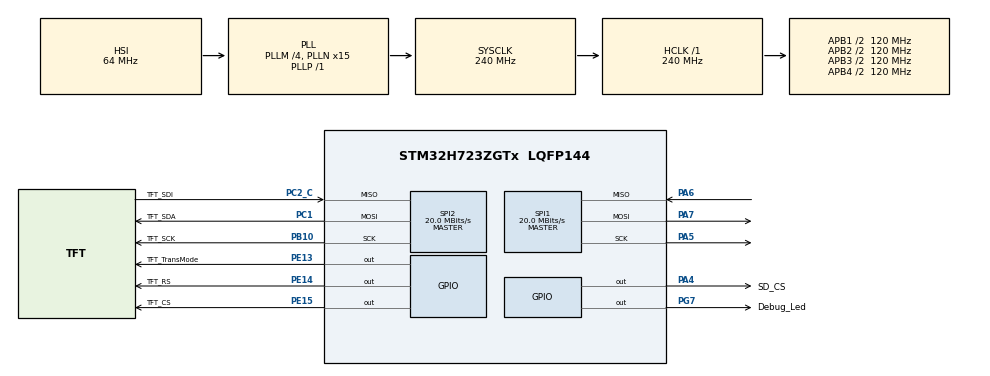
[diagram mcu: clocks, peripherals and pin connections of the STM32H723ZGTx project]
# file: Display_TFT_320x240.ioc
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CORTEX_M7.default_mode_Activation=1
Dma.Request0=SPI1_RX
Dma.Request1=SPI1_TX
Dma.Request2=SPI2_RX
Dma.Request3=SPI2_TX
Dma.SPI1_RX.0.Direction=DMA_PERIPH_TO_MEMORY
Dma.SPI1_RX.0.EventEnable=DISABLE
Dma.SPI1_RX.0.FIFOMode=DMA_FIFOMODE_DISABLE
Dma.SPI1_RX.0.Instance=DMA1_Stream0
Dma.SPI1_RX.0.MemDataAlignment=DMA_MDATAALIGN_BYTE
Dma.SPI1_RX.0.MemInc=DMA_MINC_ENABLE
Dma.SPI1_RX.0.Mode=DMA_NORMAL
Dma.SPI1_RX.0.PeriphDataAlignment=DMA_PDATAALIGN_BYTE
Dma.SPI1_RX.0.PeriphInc=DMA_PINC_DISABLE
Dma.SPI1_RX.0.Polarity=HAL_DMAMUX_REQ_GEN_RISING
Dma.SPI1_RX.0.Priority=DMA_PRIORITY_LOW
Dma.SPI1_RX.0.RequestNumber=1
Dma.SPI1_RX.0.SignalID=NONE
Dma.SPI1_RX.0.SyncEnable=DISABLE
Dma.SPI1_RX.0.SyncPolarity=HAL_DMAMUX_SYNC_NO_EVENT
Dma.SPI1_RX.0.SyncRequestNumber=1
Dma.SPI1_RX.0.SyncSignalID=NONE
Dma.SPI1_TX.1.Direction=DMA_MEMORY_TO_PERIPH
Dma.SPI1_TX.1.EventEnable=DISABLE
Dma.SPI1_TX.1.FIFOMode=DMA_FIFOMODE_DISABLE
Dma.SPI1_TX.1.Instance=DMA1_Stream1
Dma.SPI1_TX.1.MemDataAlignment=DMA_MDATAALIGN_BYTE
Dma.SPI1_TX.1.MemInc=DMA_MINC_ENABLE
Dma.SPI1_TX.1.Mode=DMA_NORMAL
Dma.SPI1_TX.1.PeriphDataAlignment=DMA_PDATAALIGN_BYTE
Dma.SPI1_TX.1.PeriphInc=DMA_PINC_DISABLE
Dma.SPI1_TX.1.Polarity=HAL_DMAMUX_REQ_GEN_RISING
Dma.SPI1_TX.1.Priority=DMA_PRIORITY_LOW
Dma.SPI1_TX.1.RequestNumber=1
Dma.SPI1_TX.1.SignalID=NONE
Dma.SPI1_TX.1.SyncEnable=DISABLE
Dma.SPI1_TX.1.SyncPolarity=HAL_DMAMUX_SYNC_NO_EVENT
Dma.SPI1_TX.1.SyncRequestNumber=1
Dma.SPI1_TX.1.SyncSignalID=NONE
Dma.SPI2_RX.2.Direction=DMA_PERIPH_TO_MEMORY
Dma.SPI2_RX.2.EventEnable=DISABLE
Dma.SPI2_RX.2.FIFOMode=DMA_FIFOMODE_DISABLE
Dma.SPI2_RX.2.Instance=DMA1_Stream2
Dma.SPI2_RX.2.MemDataAlignment=DMA_MDATAALIGN_BYTE
Dma.SPI2_RX.2.MemInc=DMA_MINC_ENABLE
Dma.SPI2_RX.2.Mode=DMA_NORMAL
Dma.SPI2_RX.2.PeriphDataAlignment=DMA_PDATAALIGN_BYTE
Dma.SPI2_RX.2.PeriphInc=DMA_PINC_DISABLE
Dma.SPI2_RX.2.Polarity=HAL_DMAMUX_REQ_GEN_RISING
Dma.SPI2_RX.2.Priority=DMA_PRIORITY_LOW
Dma.SPI2_RX.2.RequestNumber=1
Dma.SPI2_RX.2.SignalID=NONE
Dma.SPI2_RX.2.SyncEnable=DISABLE
Dma.SPI2_RX.2.SyncPolarity=HAL_DMAMUX_SYNC_NO_EVENT
Dma.SPI2_RX.2.SyncRequestNumber=1
Dma.SPI2_RX.2.SyncSignalID=NONE
Dma.SPI2_TX.3.Direction=DMA_MEMORY_TO_PERIPH
Dma.SPI2_TX.3.EventEnable=DISABLE
Dma.SPI2_TX.3.FIFOMode=DMA_FIFOMODE_DISABLE
Dma.SPI2_TX.3.Instance=DMA1_Stream3
Dma.SPI2_TX.3.MemDataAlignment=DMA_MDATAALIGN_BYTE
Dma.SPI2_TX.3.MemInc=DMA_MINC_ENABLE
Dma.SPI2_TX.3.Mode=DMA_NORMAL
Dma.SPI2_TX.3.PeriphDataAlignment=DMA_PDATAALIGN_BYTE
Dma.SPI2_TX.3.PeriphInc=DMA_PINC_DISABLE
Dma.SPI2_TX.3.Polarity=HAL_DMAMUX_REQ_GEN_RISING
Dma.SPI2_TX.3.Priority=DMA_PRIORITY_LOW
Dma.SPI2_TX.3.RequestNumber=1
Dma.SPI2_TX.3.SignalID=NONE
Dma.SPI2_TX.3.SyncEnable=DISABLE
Dma.SPI2_TX.3.SyncPolarity=HAL_DMAMUX_SYNC_NO_EVENT
Dma.SPI2_TX.3.SyncRequestNumber=1
Dma.SPI2_TX.3.SyncSignalID=NONE
FATFS._FS_TIMEOUT=10000
FATFS._MAX_SS=4096
FATFS._MULTI_PARTITION=0
FATFS._USE_CHMOD=0
FATFS._USE_LABEL=1
FATFS._USE_LFN=3
Mcu.Family=STM32H7
Mcu.Name=STM32H723ZGTx
Mcu.Package=LQFP144
NVIC.DMA1_Stream0_IRQn=true\:0\:0\:false\:false\:true\:false\:true\:true
NVIC.DMA1_Stream1_IRQn=true\:0\:0\:false\:false\:true\:false\:true\:true
NVIC.DMA1_Stream2_IRQn=true\:0\:0\:false\:false\:true\:false\:true\:true
NVIC.DMA1_Stream3_IRQn=true\:0\:0\:false\:false\:true\:false\:true\:true
NVIC.PriorityGroup=NVIC_PRIORITYGROUP_4
NVIC.SPI1_IRQn=true\:0\:0\:false\:false\:true\:false\:true\:true
NVIC.SPI2_IRQn=true\:0\:0\:false\:false\:true\:false\:true\:true
PA13(JTMS/SWDIO).Mode=Serial_Wire
PA13(JTMS/SWDIO).Signal=DEBUG_JTMS-SWDIO
PA14(JTCK/SWCLK).Mode=Serial_Wire
PA14(JTCK/SWCLK).Signal=DEBUG_JTCK-SWCLK
PA4.GPIO_Label=SD_CS
PA4.PinState=GPIO_PIN_SET
PA4.Signal=GPIO_Output
PA5.Mode=Full_Duplex_Master
PA5.Signal=SPI1_SCK
PA6.Mode=Full_Duplex_Master
PA6.Signal=SPI1_MISO
PA7.Mode=Full_Duplex_Master
PA7.Signal=SPI1_MOSI
PB10.GPIO_Label=TFT_SCK
PB10.Mode=Full_Duplex_Master
PB10.Signal=SPI2_SCK
PC1.GPIO_Label=TFT_SDA
PC1.Mode=Full_Duplex_Master
PC1.Signal=SPI2_MOSI
PC2_C.GPIO_Label=TFT_SDI
PC2_C.Mode=Full_Duplex_Master
PC2_C.Signal=SPI2_MISO
PE13.GPIO_Label=TFT_TransMode
PE13.Signal=GPIO_Output
PE14.GPIO_Label=TFT_RS
PE14.Signal=GPIO_Output
PE15.GPIO_Label=TFT_CS
PE15.Signal=GPIO_Output
PG7.GPIO_Label=Debug_Led
PG7.Signal=GPIO_Output
PH0-OSC_IN.Mode=HSE-External-Oscillator
PH0-OSC_IN.Signal=RCC_OSC_IN
PH1-OSC_OUT.Mode=HSE-External-Oscillator
PH1-OSC_OUT.Signal=RCC_OSC_OUT
ProjectManager.HeapSize=0x200
ProjectManager.StackSize=0x400
ProjectManager.TargetToolchain=STM32CubeIDE
RCC.ADCFreq_Value=129000000
RCC.APB1Freq_Value=120000000
RCC.APB2Freq_Value=120000000
RCC.APB3Freq_Value=120000000
RCC.APB4Freq_Value=120000000
RCC.CortexFreq_Value=240000000
RCC.D1PPRE=RCC_APB3_DIV2
RCC.D2PPRE1=RCC_APB1_DIV2
RCC.D2PPRE2=RCC_APB2_DIV2
RCC.D3PPRE=RCC_APB4_DIV2
RCC.DIVM1=4
RCC.DIVN1=15
RCC.DIVP1=1
RCC.DIVQ1=3
RCC.HCLKFreq_Value=240000000
RCC.PLL2FRACN=0
RCC.PLL3FRACN=0
RCC.PLLFRACN=0
RCC.SYSCLKFreq_VALUE=240000000
RCC.SYSCLKSource=RCC_SYSCLKSOURCE_PLLCLK
RCC.USBFreq_Value=80000000
SPI1.BaudRatePrescaler=SPI_BAUDRATEPRESCALER_4
SPI1.CalculateBaudRate=20.0 MBits/s
SPI1.DataSize=SPI_DATASIZE_8BIT
SPI1.Direction=SPI_DIRECTION_2LINES
SPI1.Mode=SPI_MODE_MASTER
SPI1.NSSPMode=SPI_NSS_PULSE_DISABLE
SPI1.VirtualType=VM_MASTER
SPI2.BaudRatePrescaler=SPI_BAUDRATEPRESCALER_4
SPI2.CalculateBaudRate=20.0 MBits/s
SPI2.DataSize=SPI_DATASIZE_8BIT
SPI2.Direction=SPI_DIRECTION_2LINES
SPI2.FirstBit=SPI_FIRSTBIT_MSB
SPI2.Mode=SPI_MODE_MASTER
SPI2.NSSPMode=SPI_NSS_PULSE_DISABLE
SPI2.VirtualType=VM_MASTER
VP_FATFS_VS_Generic.Mode=User_defined
VP_LIBJPEG_VS_JPEGLIB.Mode=Enabled
VP_MEMORYMAP_VS_MEMORYMAP.Mode=CurAppReg
board=custom

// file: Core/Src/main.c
/* USER CODE BEGIN Header */
/**
 ******************************************************************************
 * @file           : main.c
 * @brief          : Main program body
 ******************************************************************************
 * @attention
 *
 * Copyright (c) 2025 STMicroelectronics.
 * All rights reserved.
 *
 * This software is licensed under terms that can be found in the LICENSE file
 * in the root directory of this software component.
 * If no LICENSE file comes with this software, it is provided AS-IS.
 *
 ******************************************************************************
 */
/* USER CODE END Header */
#include "main.h"
#include "fatfs.h"
#include "libjpeg.h"

/* USER CODE BEGIN Includes */
#include "display.h"
#include "jpeg_lcd.h"
#include "sd_functions.h"
/* USER CODE END Includes */

SPI_HandleTypeDef hspi1;
SPI_HandleTypeDef hspi2;
DMA_HandleTypeDef hdma_spi1_rx;
DMA_HandleTypeDef hdma_spi1_tx;
DMA_HandleTypeDef hdma_spi2_rx;
DMA_HandleTypeDef hdma_spi2_tx;

void SystemClock_Config(void);
static void MPU_Config(void);
static void MX_GPIO_Init(void);
static void MX_DMA_Init(void);
static void MX_SPI1_Init(void);
static void MX_SPI2_Init(void);

/* USER CODE BEGIN 0 */

/* USER CODE BEGIN SPI1_Init 2 */

/* USER CODE END SPI1_Init 2 */

/* USER CODE END 0 */

int main(void)
{

  /* USER CODE BEGIN 1 */
    FIL video_f;
    UINT br;
    uint32_t frame_num = 0;

  /* USER CODE END 1 */

  /* MPU Configuration--------------------------------------------------------*/
  MPU_Config();

  /* MCU Configuration--------------------------------------------------------*/

  /* Reset of all peripherals, Initializes the Flash interface and the Systick. */
  HAL_Init();

  /* Configure the system clock */
  SystemClock_Config();

  /* Initialize all configured peripherals */
  MX_GPIO_Init();
  MX_DMA_Init();
  MX_SPI1_Init();
  MX_SPI2_Init();
  MX_LIBJPEG_Init();
  /* USER CODE BEGIN 2 */
    LCD_Init(1);
    TFT_AdjustGamma();
    FillScreen(0xf800, 320, 240);
    while (1)
    {
        if (sd_mount() == FR_OK)
        {
            break;
        }
    }
#define JPEG

#if VIDEO
    while (1)
    {
        if (f_open(&video_f, "family_guy_rgb565_120s_be_320x240.rgb", FA_READ) == FR_OK)
        {
            break;
        }
    }
    while (1)
    {
        if (!play_video(&video_f, &frame_num))
        {
            FillScreen(0xf800, 320, 240);
            break;
        }
    }
#endif

#if DISPLAY_BMP_888
    Display_BMP_picture("image1_rgb888le_320x240.bmp");
#endif
    char file_name[100];
#ifdef JPEG
    uint8_t image_id = 1;
#endif
  /* USER CODE END 2 */

  /* Infinite loop */
  /* USER CODE BEGIN WHILE */
    while (1)
    {

    	sprintf(file_name, "image%d_320x240.jpg", image_id);
    	STM32_JPEG_DISPLAY(&video_f,file_name);
    	HAL_Delay(2000);
    	image_id++;
    	if(image_id == 11){
    		image_id = 1;
    	}
        // play_video(&video_f,&frame_num);
    /* USER CODE END WHILE */

    }
}

void SystemClock_Config(void)
{
  RCC_OscInitTypeDef RCC_OscInitStruct = {0};
  RCC_ClkInitTypeDef RCC_ClkInitStruct = {0};

  /** Supply configuration update enable
  */
  HAL_PWREx_ConfigSupply(PWR_LDO_SUPPLY);

  /** Configure the main internal regulator output voltage
  */
  __HAL_PWR_VOLTAGESCALING_CONFIG(PWR_REGULATOR_VOLTAGE_SCALE0);

  while(!__HAL_PWR_GET_FLAG(PWR_FLAG_VOSRDY)) {}

  /** Initializes the RCC Oscillators according to the specified parameters
  * in the RCC_OscInitTypeDef structure.
  */
  RCC_OscInitStruct.OscillatorType = RCC_OSCILLATORTYPE_HSI;
  RCC_OscInitStruct.HSIState = RCC_HSI_DIV1;
  RCC_OscInitStruct.HSICalibrationValue = 64;
  RCC_OscInitStruct.PLL.PLLState = RCC_PLL_ON;
  RCC_OscInitStruct.PLL.PLLSource = RCC_PLLSOURCE_HSI;
  RCC_OscInitStruct.PLL.PLLM = 4;
  RCC_OscInitStruct.PLL.PLLN = 15;
  RCC_OscInitStruct.PLL.PLLP = 1;
  RCC_OscInitStruct.PLL.PLLQ = 3;
  RCC_OscInitStruct.PLL.PLLR = 2;
  RCC_OscInitStruct.PLL.PLLRGE = RCC_PLL1VCIRANGE_3;
  RCC_OscInitStruct.PLL.PLLVCOSEL = RCC_PLL1VCOWIDE;
  RCC_OscInitStruct.PLL.PLLFRACN = 0;
  if (HAL_RCC_OscConfig(&RCC_OscInitStruct) != HAL_OK)
  {
    Error_Handler();
  }

  /** Initializes the CPU, AHB and APB buses clocks
  */
  RCC_ClkInitStruct.ClockType = RCC_CLOCKTYPE_HCLK|RCC_CLOCKTYPE_SYSCLK
                              |RCC_CLOCKTYPE_PCLK1|RCC_CLOCKTYPE_PCLK2
                              |RCC_CLOCKTYPE_D3PCLK1|RCC_CLOCKTYPE_D1PCLK1;
  RCC_ClkInitStruct.SYSCLKSource = RCC_SYSCLKSOURCE_PLLCLK;
  RCC_ClkInitStruct.SYSCLKDivider = RCC_SYSCLK_DIV1;
  RCC_ClkInitStruct.AHBCLKDivider = RCC_HCLK_DIV1;
  RCC_ClkInitStruct.APB3CLKDivider = RCC_APB3_DIV2;
  RCC_ClkInitStruct.APB1CLKDivider = RCC_APB1_DIV2;
  RCC_ClkInitStruct.APB2CLKDivider = RCC_APB2_DIV2;
  RCC_ClkInitStruct.APB4CLKDivider = RCC_APB4_DIV2;

  if (HAL_RCC_ClockConfig(&RCC_ClkInitStruct, FLASH_LATENCY_3) != HAL_OK)
  {
    Error_Handler();
  }
}

static void MX_SPI1_Init(void)
{

  /* SPI1 parameter configuration*/
  hspi1.Instance = SPI1;
  hspi1.Init.Mode = SPI_MODE_MASTER;
  hspi1.Init.Direction = SPI_DIRECTION_2LINES;
  hspi1.Init.DataSize = SPI_DATASIZE_8BIT;
  hspi1.Init.CLKPolarity = SPI_POLARITY_LOW;
  hspi1.Init.CLKPhase = SPI_PHASE_1EDGE;
  hspi1.Init.NSS = SPI_NSS_SOFT;
  hspi1.Init.BaudRatePrescaler = SPI_BAUDRATEPRESCALER_4;
  hspi1.Init.FirstBit = SPI_FIRSTBIT_MSB;
  hspi1.Init.TIMode = SPI_TIMODE_DISABLE;
  hspi1.Init.CRCCalculation = SPI_CRCCALCULATION_DISABLE;
  hspi1.Init.CRCPolynomial = 0x0;
  hspi1.Init.NSSPMode = SPI_NSS_PULSE_DISABLE;
  hspi1.Init.NSSPolarity = SPI_NSS_POLARITY_LOW;
  hspi1.Init.FifoThreshold = SPI_FIFO_THRESHOLD_01DATA;
  hspi1.Init.TxCRCInitializationPattern = SPI_CRC_INITIALIZATION_ALL_ZERO_PATTERN;
  hspi1.Init.RxCRCInitializationPattern = SPI_CRC_INITIALIZATION_ALL_ZERO_PATTERN;
  hspi1.Init.MasterSSIdleness = SPI_MASTER_SS_IDLENESS_00CYCLE;
  hspi1.Init.MasterInterDataIdleness = SPI_MASTER_INTERDATA_IDLENESS_00CYCLE;
  hspi1.Init.MasterReceiverAutoSusp = SPI_MASTER_RX_AUTOSUSP_DISABLE;
  hspi1.Init.MasterKeepIOState = SPI_MASTER_KEEP_IO_STATE_DISABLE;
  hspi1.Init.IOSwap = SPI_IO_SWAP_DISABLE;
  if (HAL_SPI_Init(&hspi1) != HAL_OK)
  {
    Error_Handler();
  }

}

static void MX_SPI2_Init(void)
{

  /* SPI2 parameter configuration*/
  hspi2.Instance = SPI2;
  hspi2.Init.Mode = SPI_MODE_MASTER;
  hspi2.Init.Direction = SPI_DIRECTION_2LINES;
  hspi2.Init.DataSize = SPI_DATASIZE_8BIT;
  hspi2.Init.CLKPolarity = SPI_POLARITY_LOW;
  hspi2.Init.CLKPhase = SPI_PHASE_1EDGE;
  hspi2.Init.NSS = SPI_NSS_SOFT;
  hspi2.Init.BaudRatePrescaler = SPI_BAUDRATEPRESCALER_4;
  hspi2.Init.FirstBit = SPI_FIRSTBIT_MSB;
  hspi2.Init.TIMode = SPI_TIMODE_DISABLE;
  hspi2.Init.CRCCalculation = SPI_CRCCALCULATION_DISABLE;
  hspi2.Init.CRCPolynomial = 0x0;
  hspi2.Init.NSSPMode = SPI_NSS_PULSE_DISABLE;
  hspi2.Init.NSSPolarity = SPI_NSS_POLARITY_LOW;
  hspi2.Init.FifoThreshold = SPI_FIFO_THRESHOLD_01DATA;
  hspi2.Init.TxCRCInitializationPattern = SPI_CRC_INITIALIZATION_ALL_ZERO_PATTERN;
  hspi2.Init.RxCRCInitializationPattern = SPI_CRC_INITIALIZATION_ALL_ZERO_PATTERN;
  hspi2.Init.MasterSSIdleness = SPI_MASTER_SS_IDLENESS_00CYCLE;
  hspi2.Init.MasterInterDataIdleness = SPI_MASTER_INTERDATA_IDLENESS_00CYCLE;
  hspi2.Init.MasterReceiverAutoSusp = SPI_MASTER_RX_AUTOSUSP_DISABLE;
  hspi2.Init.MasterKeepIOState = SPI_MASTER_KEEP_IO_STATE_DISABLE;
  hspi2.Init.IOSwap = SPI_IO_SWAP_DISABLE;
  if (HAL_SPI_Init(&hspi2) != HAL_OK)
  {
    Error_Handler();
  }

}

static void MX_DMA_Init(void)
{

  /* DMA controller clock enable */
  __HAL_RCC_DMA1_CLK_ENABLE();

  /* DMA interrupt init */
  /* DMA1_Stream0_IRQn interrupt configuration */
  HAL_NVIC_SetPriority(DMA1_Stream0_IRQn, 0, 0);
  HAL_NVIC_EnableIRQ(DMA1_Stream0_IRQn);
  /* DMA1_Stream1_IRQn interrupt configuration */
  HAL_NVIC_SetPriority(DMA1_Stream1_IRQn, 0, 0);
  HAL_NVIC_EnableIRQ(DMA1_Stream1_IRQn);
  /* DMA1_Stream2_IRQn interrupt configuration */
  HAL_NVIC_SetPriority(DMA1_Stream2_IRQn, 0, 0);
  HAL_NVIC_EnableIRQ(DMA1_Stream2_IRQn);
  /* DMA1_Stream3_IRQn interrupt configuration */
  HAL_NVIC_SetPriority(DMA1_Stream3_IRQn, 0, 0);
  HAL_NVIC_EnableIRQ(DMA1_Stream3_IRQn);

}

static void MX_GPIO_Init(void)
{
  GPIO_InitTypeDef GPIO_InitStruct = {0};

  /* GPIO Ports Clock Enable */
  __HAL_RCC_GPIOH_CLK_ENABLE();
  __HAL_RCC_GPIOC_CLK_ENABLE();
  __HAL_RCC_GPIOA_CLK_ENABLE();
  __HAL_RCC_GPIOE_CLK_ENABLE();
  __HAL_RCC_GPIOB_CLK_ENABLE();
  __HAL_RCC_GPIOG_CLK_ENABLE();

  /*Configure GPIO pin Output Level */
  HAL_GPIO_WritePin(SD_CS_GPIO_Port, SD_CS_Pin, GPIO_PIN_SET);

  /*Configure GPIO pin Output Level */
  HAL_GPIO_WritePin(GPIOE, TFT_TransMode_Pin|TFT_RS_Pin|TFT_CS_Pin, GPIO_PIN_RESET);

  /*Configure GPIO pin Output Level */
  HAL_GPIO_WritePin(Debug_Led_GPIO_Port, Debug_Led_Pin, GPIO_PIN_RESET);

  /*Configure GPIO pin : SD_CS_Pin */
  GPIO_InitStruct.Pin = SD_CS_Pin;
  GPIO_InitStruct.Mode = GPIO_MODE_OUTPUT_PP;
  GPIO_InitStruct.Pull = GPIO_NOPULL;
  GPIO_InitStruct.Speed = GPIO_SPEED_FREQ_LOW;
  HAL_GPIO_Init(SD_CS_GPIO_Port, &GPIO_InitStruct);

  /*Configure GPIO pins : TFT_TransMode_Pin TFT_RS_Pin TFT_CS_Pin */
  GPIO_InitStruct.Pin = TFT_TransMode_Pin|TFT_RS_Pin|TFT_CS_Pin;
  GPIO_InitStruct.Mode = GPIO_MODE_OUTPUT_PP;
  GPIO_InitStruct.Pull = GPIO_NOPULL;
  GPIO_InitStruct.Speed = GPIO_SPEED_FREQ_LOW;
  HAL_GPIO_Init(GPIOE, &GPIO_InitStruct);

  /*Configure GPIO pin : Debug_Led_Pin */
  GPIO_InitStruct.Pin = Debug_Led_Pin;
  GPIO_InitStruct.Mode = GPIO_MODE_OUTPUT_PP;
  GPIO_InitStruct.Pull = GPIO_NOPULL;
  GPIO_InitStruct.Speed = GPIO_SPEED_FREQ_LOW;
  HAL_GPIO_Init(Debug_Led_GPIO_Port, &GPIO_InitStruct);

}

 /* MPU Configuration */

void MPU_Config(void)
{
  MPU_Region_InitTypeDef MPU_InitStruct = {0};

  /* Disables the MPU */
  HAL_MPU_Disable();

  /** Initializes and configures the Region and the memory to be protected
  */
  MPU_InitStruct.Enable = MPU_REGION_ENABLE;
  MPU_InitStruct.Number = MPU_REGION_NUMBER0;
  MPU_InitStruct.BaseAddress = 0x0;
  MPU_InitStruct.Size = MPU_REGION_SIZE_4GB;
  MPU_InitStruct.SubRegionDisable = 0x87;
  MPU_InitStruct.TypeExtField = MPU_TEX_LEVEL0;
  MPU_InitStruct.AccessPermission = MPU_REGION_NO_ACCESS;
  MPU_InitStruct.DisableExec = MPU_INSTRUCTION_ACCESS_DISABLE;
  MPU_InitStruct.IsShareable = MPU_ACCESS_SHAREABLE;
  MPU_InitStruct.IsCacheable = MPU_ACCESS_NOT_CACHEABLE;
  MPU_InitStruct.IsBufferable = MPU_ACCESS_NOT_BUFFERABLE;

  HAL_MPU_ConfigRegion(&MPU_InitStruct);
  /* Enables the MPU */
  HAL_MPU_Enable(MPU_PRIVILEGED_DEFAULT);

}

void Error_Handler(void)
{
    __disable_irq();
    while (1)
    {
    }
}
